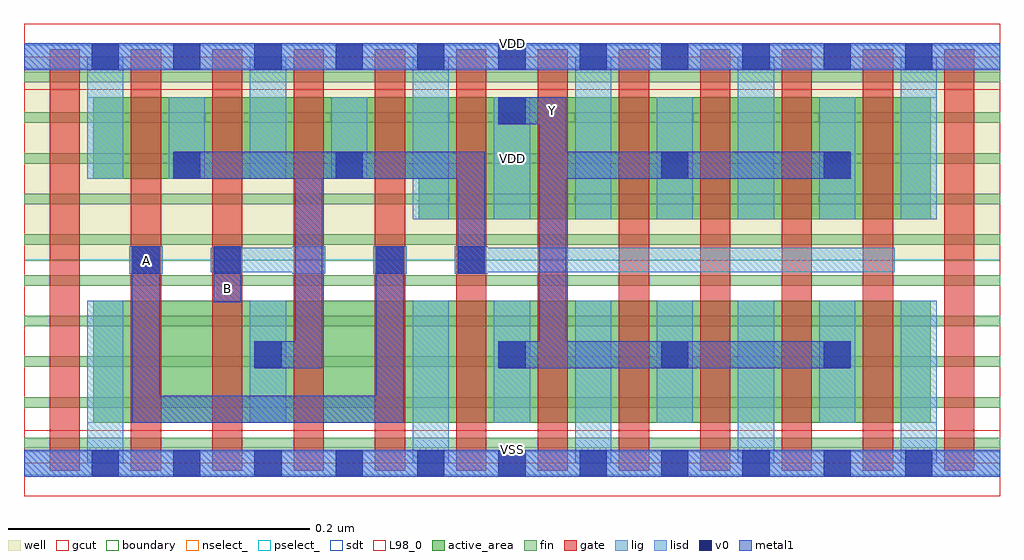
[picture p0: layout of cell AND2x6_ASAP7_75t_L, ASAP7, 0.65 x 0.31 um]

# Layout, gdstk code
import gdstk
lib = gdstk.Library(unit=1e-6, precision=2.5e-10)
def R(c, l, rs):  # rectangles x0, y0, x1, y1
    for r in rs: c.add(gdstk.rectangle(r[:2], r[2:], *l))
def A(c, l, x, y, w, h, nx, ny, dx, dy):  # array of equal rectangles
    R(c, l, [(x+i*dx, y+j*dy, x+i*dx+w, y+j*dy+h) for i in range(nx) for j in range(ny)])
def P(c, l, *ps):  # polygons
    for p in ps: c.add(gdstk.Polygon(p, *l))
well = (1, 0)
fin = (2, 0)
gate = (7, 0)
gcut = (10, 0)
active_area = (11, 0)
nselect_ = (12, 0)
pselect_ = (13, 0)
lig = (16, 0)
lisd = (17, 0)
v0 = (18, 0)
metal1 = (19, 0)
sdt = (88, 0)
L98_0 = (98, 0)
boundary = (100, 0)

and2x6_asap7_75t_l = lib.new_cell('AND2x6_ASAP7_75t_L')
R(and2x6_asap7_75t_l, well, [(0,0.135,0.648,0.27)])
A(and2x6_asap7_75t_l, fin, 0, 0.01, 0.648, 0.007, 1, 10, 0, 0.027)
A(and2x6_asap7_75t_l, gate, 0.017, -0.005, 0.02, 0.28, 12, 1, 0.054, 0)
R(and2x6_asap7_75t_l, gcut, [(0,-0.022,0.648,0.022), (0,0.248,0.648,0.292)])
R(and2x6_asap7_75t_l, active_area, [(0.046,0.027,0.602,0.108)])
P(and2x6_asap7_75t_l, active_area, [(0.046,0.189),(0.262,0.189),(0.262,0.162),(0.602,0.162),(0.602,0.243),(0.046,0.243)])
R(and2x6_asap7_75t_l, nselect_, [(0,0,0.648,0.135)])
R(and2x6_asap7_75t_l, pselect_, [(0,0.135,0.648,0.27)])
A(and2x6_asap7_75t_l, lig, 0.178, 0.126, 0.022, 0.018, 3, 1, 0.054, 0)
R(and2x6_asap7_75t_l, lig, [(0,-0.008,0.648,0.008), (0.07,0.126,0.092,0.144), (0.124,0.127,0.2,0.143), (0.286,0.127,0.578,0.143), (0,0.262,0.648,0.278)])
A(and2x6_asap7_75t_l, lisd, 0.312, 0.027, 0.024, 0.081, 3, 2, 0.108, 0.135)
R(and2x6_asap7_75t_l, lisd, [(0.042,0,0.066,0.108), (0.042,0,0.066,0.108), (0.258,0,0.282,0.108), (0.258,0,0.282,0.108), (0.366,0,0.39,0.108), (0.366,0,0.39,0.108), (0.474,0,0.498,0.108), (0.474,0,0.498,0.108), (0.582,0,0.606,0.108), (0.582,0,0.606,0.108), (0.15,0.027,0.174,0.108), (0.258,0.162,0.282,0.27), (0.258,0.162,0.282,0.27), (0.366,0.162,0.39,0.27), (0.366,0.162,0.39,0.27), (0.474,0.162,0.498,0.27), (0.474,0.162,0.498,0.27), (0.582,0.162,0.606,0.27), (0.582,0.162,0.606,0.27), (0.042,0.189,0.066,0.27), (0.042,0.189,0.066,0.27), (0.096,0.189,0.12,0.243), (0.15,0.189,0.174,0.27), (0.15,0.189,0.174,0.27), (0.204,0.189,0.228,0.243)])
A(and2x6_asap7_75t_l, v0, 0.045, -0.009, 0.018, 0.018, 11, 2, 0.054, 0.27)
A(and2x6_asap7_75t_l, v0, 0.315, 0.063, 0.018, 0.018, 3, 1, 0.108, 0)
R(and2x6_asap7_75t_l, v0, [(0.153,0.063,0.171,0.081), (0.072,0.126,0.09,0.144), (0.126,0.126,0.144,0.144), (0.234,0.126,0.252,0.144), (0.288,0.126,0.306,0.144), (0.099,0.189,0.117,0.207), (0.207,0.189,0.225,0.207), (0.423,0.189,0.441,0.207), (0.531,0.189,0.549,0.207), (0.315,0.225,0.333,0.243)])
A(and2x6_asap7_75t_l, metal1, 0.315, 0.063, 0.018, 0.018, 3, 1, 0.108, 0)
R(and2x6_asap7_75t_l, metal1, [(0,-0.009,0.648,0.009), (0.153,0.063,0.171,0.081), (0.126,0.107,0.144,0.144), (0.072,0.126,0.09,0.144), (0.126,0.126,0.144,0.144), (0.234,0.126,0.252,0.144), (0.288,0.126,0.306,0.144), (0.099,0.189,0.117,0.207), (0.207,0.189,0.225,0.207), (0.423,0.189,0.441,0.207), (0.531,0.189,0.549,0.207), (0.315,0.225,0.333,0.243), (0,0.261,0.648,0.279)])
P(and2x6_asap7_75t_l, metal1, [(0.234,0.144),(0.234,0.045),(0.09,0.045),(0.09,0.144),(0.072,0.144),(0.072,0.027),(0.252,0.027),(0.252,0.144)],
  [(0.306,0.126),(0.306,0.207),(0.099,0.207),(0.099,0.189),(0.18,0.189),(0.18,0.081),(0.153,0.081),(0.153,0.063),(0.198,0.063),(0.198,0.189),(0.288,0.189),(0.288,0.126)],
  [(0.549,0.207),(0.36,0.207),(0.36,0.243),(0.315,0.243),(0.315,0.225),(0.342,0.225),(0.342,0.081),(0.315,0.081),(0.315,0.063),(0.549,0.063),(0.549,0.081),(0.36,0.081),(0.36,0.189),(0.549,0.189)])
A(and2x6_asap7_75t_l, sdt, 0.042, 0.027, 0.024, 0.081, 3, 1, 0.108, 0)
A(and2x6_asap7_75t_l, sdt, 0.258, 0.027, 0.024, 0.081, 3, 2, 0.054, 0.135)
A(and2x6_asap7_75t_l, sdt, 0.366, 0.027, 0.024, 0.081, 3, 2, 0.054, 0.135)
A(and2x6_asap7_75t_l, sdt, 0.474, 0.027, 0.024, 0.081, 3, 2, 0.054, 0.135)
A(and2x6_asap7_75t_l, sdt, 0.042, 0.189, 0.024, 0.054, 3, 1, 0.054, 0)
R(and2x6_asap7_75t_l, sdt, [(0.042,0.027,0.066,0.108), (0.582,0.027,0.606,0.108), (0.258,0.162,0.282,0.243), (0.582,0.162,0.606,0.243), (0.042,0.189,0.066,0.243), (0.15,0.189,0.174,0.243), (0.204,0.189,0.228,0.243)])
R(and2x6_asap7_75t_l, L98_0, [(0,0,0.648,0.27)])
R(and2x6_asap7_75t_l, boundary, [(0,0,0.648,0.27)])
and2x6_asap7_75t_l.add(gdstk.Label('VDD', (0.324,0.2025), layer=1, texttype=251))
and2x6_asap7_75t_l.add(gdstk.Label('VSS', (0.324,-0.0675), layer=3, texttype=251))
and2x6_asap7_75t_l.add(gdstk.Label('VSS', (0.324,0.009), layer=19, texttype=251))
and2x6_asap7_75t_l.add(gdstk.Label('VDD', (0.324,0.279), layer=19, texttype=251))
and2x6_asap7_75t_l.add(gdstk.Label('A', (0.081,0.135), layer=19, texttype=251))
and2x6_asap7_75t_l.add(gdstk.Label('B', (0.135,0.116), layer=19, texttype=251))
and2x6_asap7_75t_l.add(gdstk.Label('Y', (0.351,0.234), layer=19, texttype=251))

lib.write_gds('AND2x6_ASAP7_75t_L.gds')
